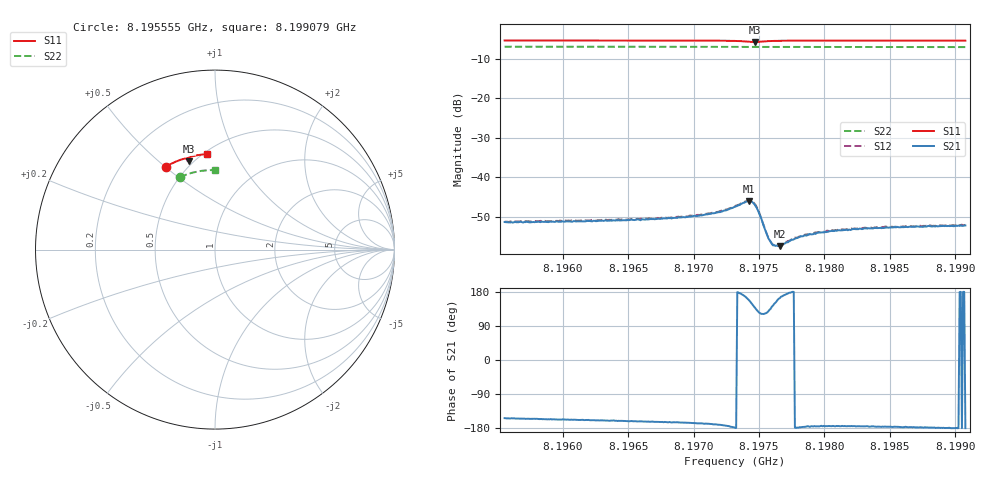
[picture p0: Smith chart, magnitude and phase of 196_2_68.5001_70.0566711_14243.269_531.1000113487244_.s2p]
#  HZ  S  RI  R  50.00
! Rohde & Schwarz Vector Network Analyzer
! Rohde-Schwarz,ZNB20-2Port,1311601062101988,3.16
! Created: UTC 3/20/2024, 5:12:33 PM
! freq[Hz]  re:S11  im:S11  re:S21  im:S21  re:S12  im:S12  re:S22  im:S22
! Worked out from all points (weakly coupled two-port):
!   401 points, 8.195555 GHz to 8.199079 GHz, reference 50 ohm
!   highest |S21| = -46.12 dB at 8.197422 GHz (marker M1); lowest = -57.5 dB at 8.19766 GHz (marker M2)
!   lowest |S11| = -5.8 dB at 8.197466 GHz (marker M3), VSWR 3.11, Z = 23.6 + j31.6 ohm
!   |S11| at or under -10 dB: nowhere
!   |S22| runs from -7.1 to -7.0 dB; largest |S21 - S12| = 0.00025
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8.1955546e9  -0.2753 0.4614  -0.00241 -0.00121  -0.00251 -0.00112  -0.1952 0.4039
8.1961449e9  -0.2382 0.4812  -0.00255 -0.00102  -0.00266 -0.00094  -0.1646 0.4165
8.1967352e9  -0.199 0.4977  -0.00285 -0.000843  -0.00292 -0.000736  -0.1329 0.4266
8.1970612e9  -0.1753 0.5056  -0.00319 -0.000718  -0.0033 -0.000597  -0.1152 0.4312
8.1972022e9  -0.1635 0.508  -0.00356 -0.000562  -0.0037 -0.000434  -0.1075 0.433
8.1973167e9  -0.1521 0.5081  -0.00421 -0.000117  -0.00429 6.77e-05  -0.1009 0.4343
8.1974224e9  -0.142 0.4985  -0.0046 0.00182  -0.00461 0.00207  -0.0949 0.4351
8.1974488e9  -0.1437 0.494  -0.00406 0.00264  -0.00399 0.00283  -0.0937 0.4351
8.1974665e9  -0.1465 0.4922  -0.0034 0.00295  -0.00334 0.00315  -0.0929 0.4355
8.1974929e9  -0.1512 0.4926  -0.00232 0.00296  -0.00222 0.00312  -0.0916 0.4355
8.1975634e9  -0.1545 0.5028  -0.00107 0.00149  -0.00103 0.00153  -0.0878 0.4365
8.1975898e9  -0.1528 0.5062  -0.00107 0.00106  -0.00106 0.0011  -0.0862 0.4368
8.1976074e9  -0.1515 0.5079  -0.0011 0.000808  -0.0011 0.000857  -0.0854 0.4371
8.1976251e9  -0.1499 0.5093  -0.00117 0.000656  -0.00117 0.000683  -0.0843 0.4373
8.1976603e9  -0.1467 0.5117  -0.00128 0.000377  -0.00129 0.000428  -0.0823 0.4376
8.197766e9  -0.1378 0.516  -0.00163 8.8e-06  -0.00168 8.76e-05  -0.0765 0.4385
8.1978277e9  -0.1327 0.5177  -0.00178 -9.64e-05  -0.0018 -3.14e-05  -0.0728 0.439
8.197907e9  -0.1265 0.5195  -0.00188 -0.000172  -0.00192 -6.81e-05  -0.0686 0.4397
8.1980656e9  -0.1146 0.5225  -0.00206 -0.000219  -0.00213 -0.000129  -0.0595 0.4407
8.1981889e9  -0.1056 0.5244  -0.00216 -0.000214  -0.00223 -0.000109  -0.0526 0.4412
8.1984973e9  -0.0834 0.5282  -0.0023 -0.000156  -0.00235 -5.08e-05  -0.0352 0.4425
8.1990788e9  -0.0419 0.5326  -0.00244 -4.73e-06  -0.00248 0.000119  -0.0021 0.4429
